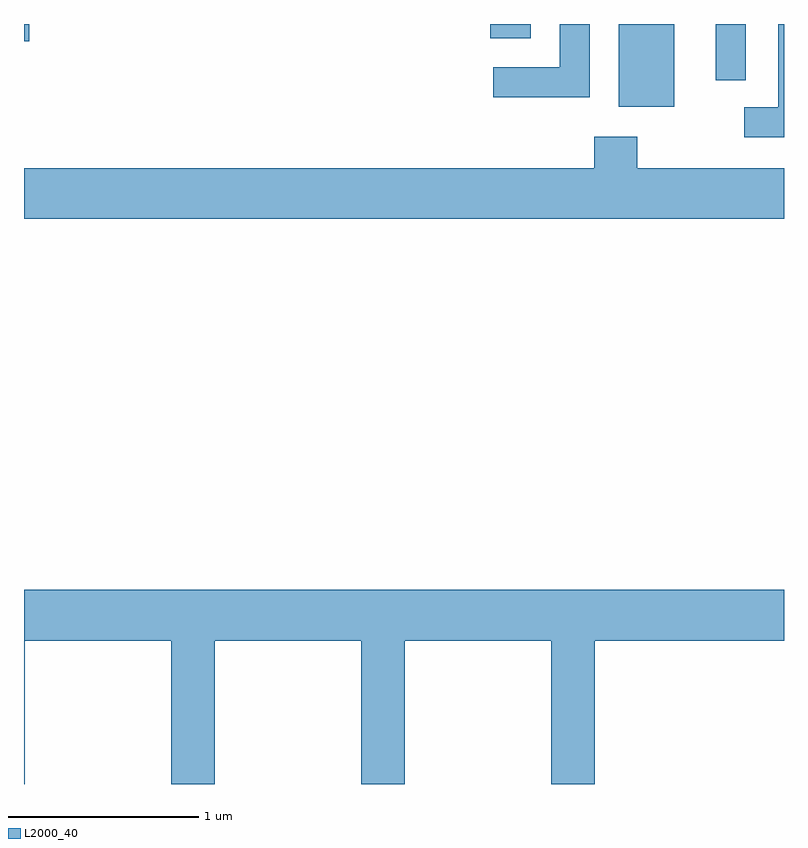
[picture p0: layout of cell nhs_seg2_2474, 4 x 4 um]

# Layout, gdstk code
import gdstk
lib = gdstk.Library(unit=1e-6, precision=1e-09)
def R(c, l, rs):  # rectangles x0, y0, x1, y1
    for r in rs: c.add(gdstk.rectangle(r[:2], r[2:], *l))
def P(c, l, *ps):  # polygons
    for p in ps: c.add(gdstk.Polygon(p, *l))
L2000_40 = (2000, 40)

nhs_seg2_2474 = lib.new_cell('nhs_seg2_2474')
R(nhs_seg2_2474, L2000_40, [(260.741,1033.366,261.034,1033.802), (261.251,1033.507,261.409,1033.802), (257.611,1033.711,257.639,1033.802), (260.066,1033.726,260.279,1033.802)])
P(nhs_seg2_2474, L2000_40, [(260.589,1033.802),(260.431,1033.802),(260.431,1033.574),(260.082,1033.574),(260.082,1033.416),(260.589,1033.416)],
  [(261.611,1033.802),(261.581,1033.802),(261.581,1033.364),(261.403,1033.364),(261.403,1033.206),(261.611,1033.206)],
  [(261.611,1033.044),(260.839,1033.044),(260.839,1033.209),(260.611,1033.209),(260.611,1033.044),(257.611,1033.044),(257.611,1032.776),(261.611,1032.776)],
  [(257.611,1029.802),(257.614,1029.802),(257.614,1030.556),(258.386,1030.556),(258.386,1029.802),(258.614,1029.802),(258.614,1030.556),(259.386,1030.556),(259.386,1029.802),(259.614,1029.802),(259.614,1030.556),(260.386,1030.556),(260.386,1029.802),(260.614,1029.802),(260.614,1030.556),(261.611,1030.556),(261.611,1030.824),(257.611,1030.824)])

lib.write_gds('nhs_seg2_2474.gds')
